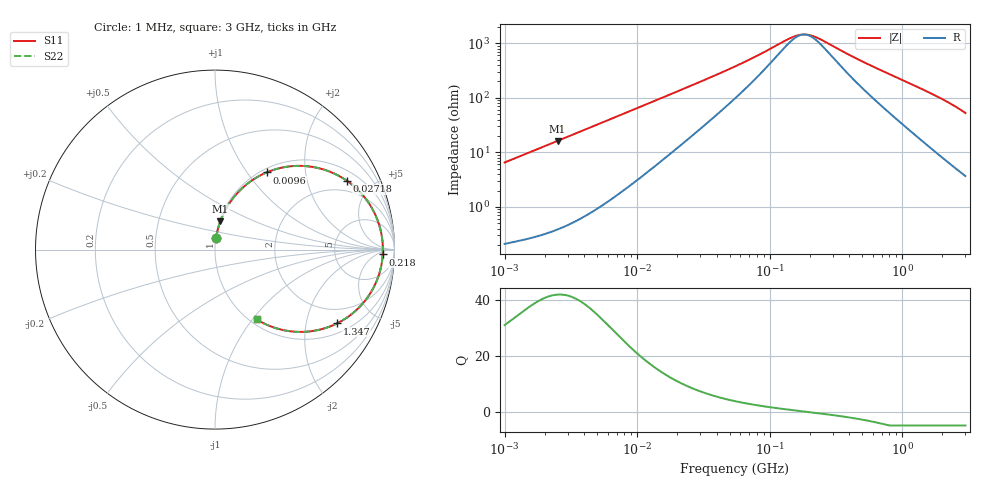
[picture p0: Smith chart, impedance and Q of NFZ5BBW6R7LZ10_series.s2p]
! NFZ5BBW6R7LZ10
# Hz S RI R 50
!Freq.(Hz) S11(Real) S11(Imag) S21(Real) S21(Imag) S12(Real) S12(Imag) S22(Real) S22(Imag)
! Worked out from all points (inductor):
!   401 points, 1 MHz to 3 GHz, reference 50 ohm
!   read as one part in series: L = 1.03 uH near 1.041 MHz
!   highest Q = 42 at 2.511 MHz (marker M1), where L = 1.03 uH
!   self-resonance near 182.2 MHz
!   S11 on the Smith chart (normalised r, x): 1 MHz: 1.00, +0.13; 9.6 MHz: 1.06, +1.24; 27.18 MHz: 1.44, +3.54; 218 MHz: 25, -11; 1.347 GHz: 1.36, -3.03; 3 GHz: 1.07, -1.05
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1000000  0.00631 0.0647  0.9937 -0.0647  0.9937 -0.0647  0.00631 0.0647
2511129  0.0293 0.1571  0.9707 -0.1571  0.9707 -0.1571  0.0293 0.1571
3823119  0.0627 0.2301  0.9373 -0.2301  0.9373 -0.2301  0.0627 0.2301
6180806  0.1456 0.3367  0.8544 -0.3367  0.8544 -0.3367  0.1456 0.3367
9600343  0.2871 0.4299  0.7129 -0.4299  0.7129 -0.4299  0.2871 0.4299
1.461624e7  0.4749 0.4667  0.5251 -0.4667  0.5251 -0.4667  0.4749 0.4667
1.934349e7  0.6039 0.4467  0.3961 -0.4467  0.3961 -0.4467  0.6039 0.4467
2.718395e7  0.7354 0.383  0.2646 -0.383  0.2646 -0.383  0.7354 0.383
3.820236e7  0.8266 0.2996  0.1734 -0.2996  0.1734 -0.2996  0.8266 0.2996
5.477226e7  0.8842 0.2127  0.1158 -0.2127  0.1158 -0.2127  0.8842 0.2127
8.507507e7  0.9191 0.1224  0.0809 -0.1224  0.0809 -0.1224  0.9191 0.1224
1.520175e8  0.9346 0.0271  0.0654 -0.0271  0.0654 -0.0271  0.9346 0.0271
1.784169e8  0.9354 0.00312  0.0646 -0.00312  0.0646 -0.00312  0.9354 0.00312
2.094008e8  0.9349 -0.0208  0.0651 0.0208  0.0651 0.0208  0.9349 -0.0208
2.179536e8  0.9346 -0.0268  0.0654 0.0268  0.0654 0.0268  0.9346 -0.0268
4.66327e8  0.9074 -0.1574  0.0926 0.1574  0.0926 0.1574  0.9074 -0.1574
8.005644e8  0.8381 -0.2823  0.1619 0.2823  0.1619 0.2823  0.8381 -0.2823
1.038491e9  0.7736 -0.3494  0.2264 0.3494  0.2264 0.3494  0.7736 -0.3494
1.347129e9  0.6796 -0.4112  0.3204 0.4112  0.3204 0.4112  0.6796 -0.4112
2.050964e9  0.4618 -0.4584  0.5382 0.4584  0.5382 0.4584  0.4618 -0.4584
2.455801e9  0.3523 -0.4416  0.6477 0.4416  0.6477 0.4416  0.3523 -0.4416
3e9  0.2328 -0.389  0.7672 0.389  0.7672 0.389  0.2328 -0.389
